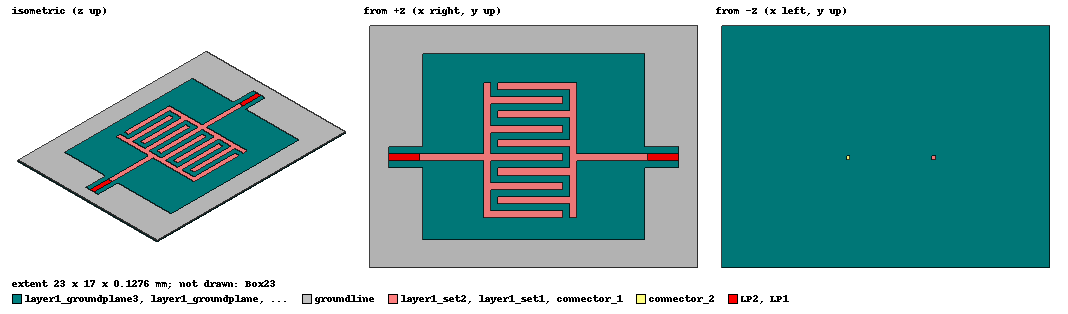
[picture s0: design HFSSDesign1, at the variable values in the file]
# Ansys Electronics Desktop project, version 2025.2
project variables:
  $gap = 0.5mm
  $fwidth = 0.5mm
  $flength = 5mm
  $fthickness = 10um
  $connecter_y = 9.5mm
  $subsprop = 20mm
  $subspropx = 25mm
  $layer_gap = 0.075mm
  $gp_thickness = 10um
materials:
  vacuum: permittivity=1
  copper: permeability=0.999991 conductivity=58000000
  FR4_epoxy: permittivity=4.4 dielectric_loss_tangent=0.02
  pec: conductivity=1e+30
  polyimide: permittivity=3.5 dielectric_loss_tangent=0.008
  silverink: conductivity=1000000

design HFSSDesign1 (HFSS, HFSS Terminal Network, model units mm)
options: Allow_Material_Override
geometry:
  Box1 = box(corner=(0mm, 0mm, 0mm), size=($flength, $fwidth, $fthickness))
  Box2 = box(corner=($gap, 2*$gap, 0mm), size=($flength, $fwidth, $fthickness))
  Box3 = box(corner=(0mm, 4*$gap, 0mm), size=($flength, $fwidth, $fthickness))
  Box4 = box(corner=($gap, 6*$gap, 0mm), size=($flength, $fwidth, $fthickness))
  Box5 = box(corner=(0mm, 8*$gap, 0mm), size=($flength, $fwidth, $fthickness))
  Box6 = box(corner=($gap, 10*$gap, 0mm), size=($flength, $fwidth, $fthickness))
  Box7 = box(corner=(0mm, 12*$gap, 0mm), size=($flength, $fwidth, $fthickness))
  Box8 = box(corner=($gap, 14*$gap, 0mm), size=($flength, $fwidth, $fthickness))
  Box9 = box(corner=(0mm, 16*$gap, 0mm), size=($flength, $fwidth, $fthickness))
  Box10 = box(corner=($gap, 18*$gap, 0mm), size=($flength, $fwidth, $fthickness))
  Box12 = box(corner=(-$gap, 0mm, 0mm), size=($fwidth, $connecter_y, $fthickness))
  Box13 = box(corner=(5.5mm, 0mm, 0mm), size=($fwidth, $connecter_y, $fthickness))
  layer1_set1 [silverink] = box(corner=(0mm, 4mm, 0), size=(-5mm, 0.5mm, $fthickness))
  layer1_set2 [silverink] = box(corner=(6mm, 4mm, 0mm), size=(5mm, $fwidth, $fthickness))
  layer1_set2.unite(Box13, Box10, Box8, Box6, Box4, Box2)
  layer1_set1.unite(Box1, Box3, Box5, Box7, Box9, Box12)
  layer1_set1.move(2mm, 0mm, 0.001mm)
  layer1_set2.move(2mm, 0mm, 0mm)
  layer1_groundplane [polyimide] = box(corner=(-7mm, -3.5mm, 0mm), size=($subspropx-2mm, $subsprop-3mm, 0.0254mm))
  [layer1_set1, layer1_set2].move(-0.5mm, 0mm, 0mm)
  [layer1_set1, layer1_set2].move(0mm, 0mm, 0.005mm)
  [layer1_set1, layer1_set2].move(0mm, 0mm, 0mm)
  layer1_set2.move(0mm, 0mm, 0.002mm)
  [layer1_set1, layer1_set2].move(0mm, 0mm, -0.005mm)
  layer1_groundplane1 [polyimide] = box(corner=(-7mm, -3.5mm, -$layer_gap), size=($subspropx-2mm, $subsprop-3mm, 0.0254mm))
  layer1_groundplane2 [polyimide] = box(corner=(-7mm, -3.5mm, -2*$layer_gap), size=($subspropx-2mm, $subsprop-3mm, 0.0254mm))
  layer1_groundplane3 [polyimide] = box(corner=(-7mm, -3.5mm, -3*$layer_gap), size=($subspropx-2mm, $subsprop-3mm, 0.0254mm))
  connector_1 [silverink] = box(corner=(1mm, 4.1mm, 0.03mm), size=(0.25mm, 0.25mm, -0.122mm))
  connector_2 [silverink] = box(corner=(7mm, 4.1mm, 0.03mm), size=(0.25mm, 0.25mm, -0.1222mm))
  layer1_set2.move(0mm, 0mm, 0.02mm)
  layer1_set1.move(0mm, 0mm, 0.024mm)
  layer1_set1_1 [silverink] = layer1_set1.duplicate_along_line(step=(0mm, 0mm, -0.08mm), total=2)
  layer1_set1_1.move(0mm, 0mm, 0.004mm)
  layer1_set1_1_1 [silverink] = layer1_set1_1.duplicate_along_line(step=(0mm, 0mm, -0.08mm), total=2)
  layer1_set1_1_1.move(0mm, 0mm, 0.005mm)
  layer1_set1_1_1_1 [silverink] = layer1_set1_1_1.duplicate_along_line(step=(0mm, 0mm, -0.075mm), total=2)
  layer1_set2_1 [silverink] = layer1_set2.duplicate_along_line(step=(0mm, 0mm, -0.08mm), total=2)
  layer1_set2_1.move(0mm, 0mm, 0.005mm)
  layer1_set2_1_1 [silverink] = layer1_set2_1.duplicate_along_line(step=(0mm, 0mm, -0.075mm), total=2)
  layer1_set2_1_1_1 [silverink] = layer1_set2_1_1.duplicate_along_line(step=(0mm, 0mm, -0.075mm), total=2)
  [layer1_set1_1, layer1_set2_1, layer1_groundplane1].move(0mm, 0mm, 0.045mm)
  [layer1_set1_1_1, layer1_groundplane2, layer1_set2_1_1].move(0mm, 0mm, 0.09mm)
  [layer1_set1_1_1_1, layer1_set2_1_1_1, layer1_groundplane3].move(0mm, 0mm, 0.13mm)
  [layer1_set1_1_1_1, layer1_set2_1_1_1, layer1_groundplane3].move(0mm, 0mm, 0.003mm)
  groundline [silverink] = box(corner=(-7mm, -3.5mm, 0.0254mm), size=(3.7mm, 7mm, 10um))
  Box16 = box(corner=(12.3mm, -3.5mm, 0.0254mm), size=(3.7mm, 7mm, 10um))
  Box17 = box(corner=(-5mm, -3.5mm, 0.0254mm), size=(20mm, 2mm, 10um))
  Box18 = box(corner=(-5mm, 11.5mm, 0.0254mm), size=(20mm, 2mm, 10um))
  Box19 = box(corner=(-7mm, 5mm, 0.0254mm), size=(3.7mm, 8.5mm, 10um))
  Box20 = box(corner=(-7mm, 3.5mm, 0.0254mm), size=(1.3mm, 1.5mm, 10um))
  Box21 = box(corner=(12.3mm, 5mm, 0.0254mm), size=(3.7mm, 8.5mm, 10um))
  Box22 = box(corner=(14.7mm, 3.5mm, 0.0254mm), size=(1.3mm, 1.5mm, 10um))
  plane Plane1 = base (5mm, 15mm, 0mm) normal (-1mm, 0mm, 0mm)
  groundline.unite(Box20, Box19, Box18, Box21, Box22, Box16, Box17)
  LP1 = polyline(xyz in mm: (12.5, 4.5, 0.032) (12.5, 4, 0.032) (14.7, 4, 0.0354) (14.7, 4.5, 0.0354), closed, covered)
  LP2 = polyline(xyz in mm: (-3.5, 4, 0.035) (-3.5, 4.5, 0.035) (-5.7, 4.5, 0.0354) (-5.7, 4, 0.0354), closed, covered)
  Box23 [vacuum] = box(corner=(-21.5mm, -18mm, -6.5mm), size=(50mm, 50mm, 13mm))
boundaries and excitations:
  Rad1: Radiation Objects=Box23
  1: Lumped Port Faces=LP1.face LumpedPortType=Modal Modes{Mode1{IntLine{(12.5, 4.25, 0.032) -> (14.7, 4.25, 0.0354)} CharImp=Zpi}} Impedance=50ohm
  2: Lumped Port Faces=LP2.face LumpedPortType=Modal Modes{Mode1{IntLine{(-5.7, 4.25, 0.0354) -> (-3.5, 4.25, 0.035)} CharImp=Zpi}} Impedance=50ohm
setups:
  Setup1: HfssDrivenAuto AutoSolverSetting=Balanced SaveAnyFields=false Type=Interpolating
    sweep Sweep: 0.01GHz to 0.7GHz, 501 points;
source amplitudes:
  1:1: 1V 0deg
  2:1: 0V 0deg
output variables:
  cap = (im(Yt(1,1)))/(2*3.14*freq)
  Q = im(Yt(1,1))/re(Yt(1,1))
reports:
  Output Variables Plot3: cap vs Freq on Setup1 : Sweep
  Output Variables Plot4: Q vs Freq on Setup1 : Sweep
